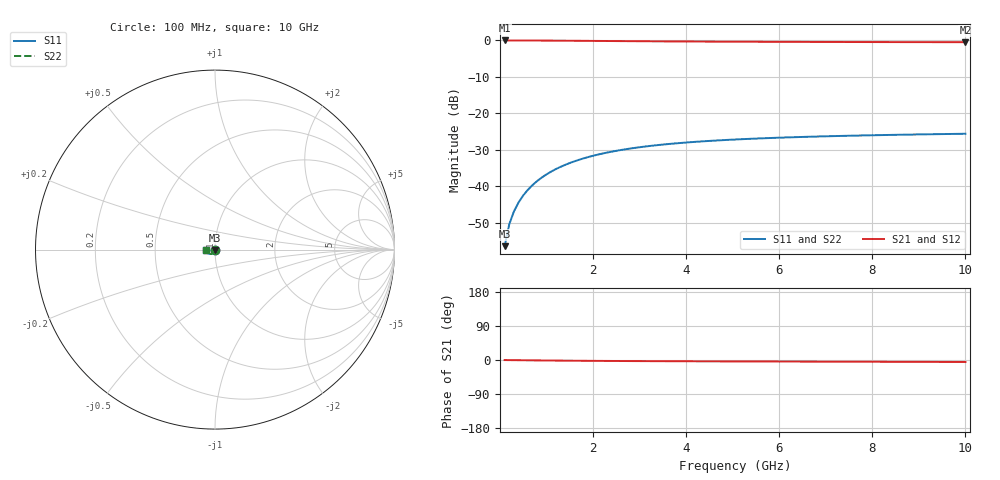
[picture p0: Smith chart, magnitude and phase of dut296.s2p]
! Touchstone file exported from HFSS 2024.1.0
!  File:  C:/UserFiles/LocalFiles/RDL_TSV_Batchsim/temp_TSV1_296_1778771106.aedt
!  Generated:  11:09:54 PM May 14, 2026
!  Design:  TSV1
!  Project:  temp_TSV1_296_1778771106
!  Setup:  Setup1
!  Solution:  Sweep
! Variables:
!  dtsv = 12.26um
!  hbump = 3um
!  htsv = 81.38um
!  lrdl = 252.1521522um
!  p = 40
!  p1 = 52.51um
!  t = 500um
!  trdl = 3um
!  wrdl = 24.89489489um
# GHz S MA R 50.000000
! Terminal data exported
! Port[1] = TSV22_T1
! Port[2] = TSV22_T2
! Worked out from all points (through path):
!   100 points, 100 MHz to 10 GHz, reference 50 ohm
!   highest |S21| = 0.00 dB at 100 MHz (marker M1); lowest = -0.5 dB at 10 GHz (marker M2)
!   lowest |S11| = -56.4 dB at 100 MHz (marker M3), VSWR 1.00, Z = 50 - j0.15 ohm
!   |S11| at or under -10 dB: start of sweep to end of sweep
!   |S22| runs from -56.4 to -25.6 dB; largest |S21 - S12| = 9.3e-15
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0.1  0.001505 -88.1  0.9999 -0.1  0.9999 -0.1  0.001505 -88.1
! Gamma 0 0 0 0
! Port Impedance 50 0 50 0
0.2  0.003006 -91.6  0.9997 -0.3  0.9997 -0.3  0.003006 -91.6
0.3  0.004505 -93.9  0.9994 -0.4  0.9994 -0.4  0.004505 -93.9
0.4  0.005998 -96.0  0.9991 -0.5  0.9991 -0.5  0.005998 -96.0
0.5  0.007478 -98.0  0.9987 -0.7  0.9987 -0.7  0.007478 -98.0
0.6  0.00894 -99.9  0.9982 -0.8  0.9982 -0.8  0.00894 -99.9
0.7  0.01038 -101.7  0.9976 -0.9  0.9976 -0.9  0.01038 -101.7
0.8  0.0118 -103.5  0.9969 -1.1  0.9969 -1.1  0.0118 -103.5
0.9  0.01319 -105.3  0.9962 -1.2  0.9962 -1.2  0.01319 -105.3
1.1  0.01587 -108.8  0.9946 -1.4  0.9946 -1.4  0.01587 -108.8
1.4  0.01964 -113.7  0.9919 -1.7  0.9919 -1.7  0.01964 -113.7
1.6  0.02196 -116.8  0.9899 -1.9  0.9899 -1.9  0.02196 -116.8
1.8  0.02414 -119.7  0.9879 -2.1  0.9879 -2.1  0.02414 -119.7
2.1  0.02713 -123.9  0.9848 -2.3  0.9848 -2.3  0.02713 -123.9
2.5  0.03062 -129.0  0.9807 -2.6  0.9807 -2.6  0.03062 -129.0
2.9  0.03361 -133.6  0.9769 -2.8  0.9769 -2.8  0.03361 -133.6
3.4  0.03673 -138.7  0.9725 -3.1  0.9725 -3.1  0.03673 -138.7
4.2  0.04065 -145.6  0.9665 -3.4  0.9665 -3.4  0.04065 -145.6
5.1  0.0439 -152.1  0.9612 -3.7  0.9612 -3.7  0.0439 -152.1
6.7  0.04785 -161.2  0.9544 -4.2  0.9544 -4.2  0.04785 -161.2
8.4  0.0506 -168.7  0.9497 -4.8  0.9497 -4.8  0.0506 -168.7
10  0.05246 -174.5  0.9467 -5.3  0.9467 -5.3  0.05246 -174.5
